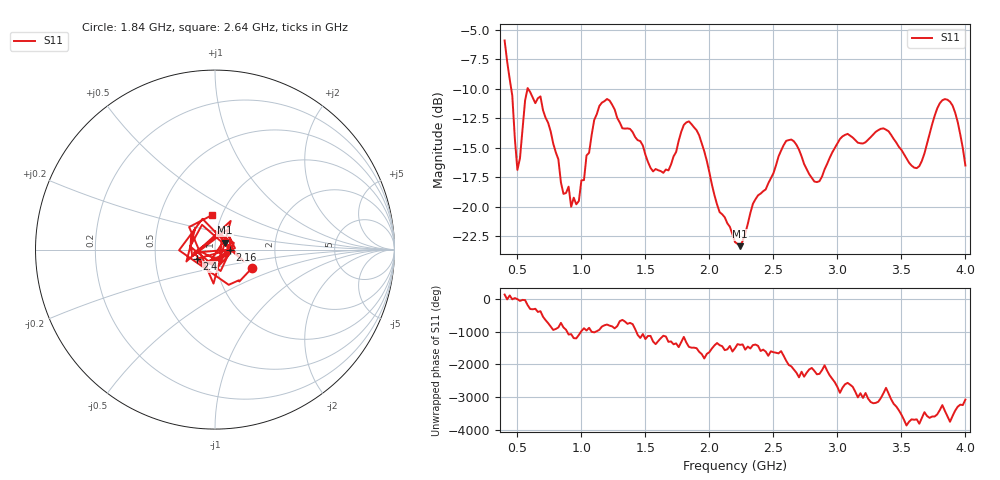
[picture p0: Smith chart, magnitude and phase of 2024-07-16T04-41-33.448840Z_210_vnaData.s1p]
!Created with skrf (http://scikit-rf.org).
# Hz S RI R 50.0
!freq ReS11 ImS11
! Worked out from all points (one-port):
!   181 points, 400 MHz to 4 GHz, reference 50 ohm
!   lowest |S11| = -23.4 dB at 2.24 GHz (marker M1), VSWR 1.15, Z = 55.7 + j4.32 ohm
!   |S11| at or under -10 dB: 451.4 MHz to 579.2 MHz (127.8 MHz wide, 24.8 % of centre); 582.5 MHz to end of sweep
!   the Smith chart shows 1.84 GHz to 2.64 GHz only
!   S11 on the Smith chart (normalised r, x): 1.84 GHz: 1.47, -0.33; 2.16 GHz: 1.18, -0.00; 2.4 GHz: 0.81, -0.08; 2.64 GHz: 0.90, +0.36
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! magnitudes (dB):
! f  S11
! 400 MHz  -5.9
! 460 MHz  -10.6
! 500 MHz  -16.9
! 580 MHz  -10.0
! 680 MHz  -10.7
! 860 MHz  -18.9
! 980 MHz  -19.5
! 1.1 GHz  -12.7
! 1.16 GHz  -11.2
! 1.3 GHz  -12.9
! 1.56 GHz  -17.0
! 1.68 GHz  -16.9
! 1.76 GHz  -14.4
! 1.84 GHz  -12.8
! 2.16 GHz  -21.7
! 2.2 GHz  -23.0
! 2.24 GHz  -23.4
! 2.4 GHz  -18.9
! 2.64 GHz  -14.3
! 2.66 GHz  -14.5
! 2.84 GHz  -17.9
! 3.1 GHz  -14.0
! 3.36 GHz  -13.4
! 3.56 GHz  -16.3
! 3.64 GHz  -16.6
! 3.84 GHz  -10.9
! 3.92 GHz  -12.0
! 4 GHz  -16.5
